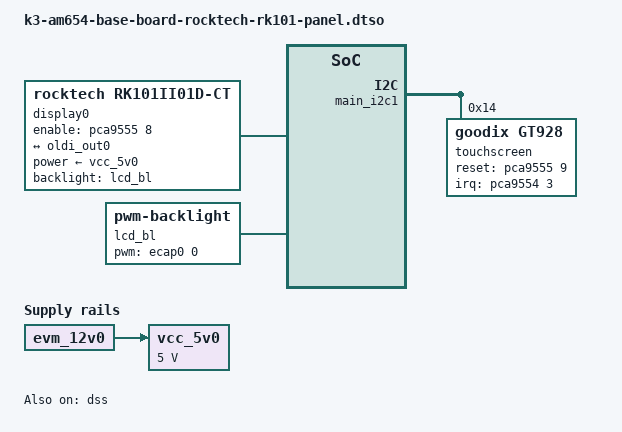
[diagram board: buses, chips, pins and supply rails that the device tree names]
// SPDX-License-Identifier: GPL-2.0-only OR MIT
/**
 * OLDI-LCD1EVM Rocktech integrated panel and touch DT overlay for AM654-EVM.
 * Panel Link: https://www.digimax.it/en/tft-lcd/20881-RK101II01D-CT
 * AM654 LCD EVM: https://www.ti.com/tool/TMDSLCD1EVM
 *
 * Copyright (C) 2023-2024 Texas Instruments Incorporated - https://www.ti.com/
 */

/dts-v1/;
/plugin/;

#include <dt-bindings/pwm/pwm.h>
#include <dt-bindings/gpio/gpio.h>
#include <dt-bindings/interrupt-controller/irq.h>

&{/} {
	vcc_5v0: lcd-regulator {
		/* Output of LM5140 */
		compatible = "regulator-fixed";
		regulator-name = "vcc_5v0";
		regulator-min-microvolt = <5000000>;
		regulator-max-microvolt = <5000000>;
		regulator-always-on;
		regulator-boot-on;
		vin-supply = <&evm_12v0>;
	};

	display0 {
		compatible = "rocktech,rk101ii01d-ct";
		power-supply = <&vcc_5v0>;
		backlight = <&lcd_bl>;
		enable-gpios = <&pca9555 8 GPIO_ACTIVE_HIGH>;
		port {
			lcd_in0: endpoint {
				remote-endpoint = <&oldi_out0>;
			};
		};
	};

	lcd_bl: backlight {
		compatible = "pwm-backlight";
		pwms = <&ecap0 0 50000 PWM_POLARITY_INVERTED>;
		brightness-levels =
			<0 32 64 96 128 160 192 224 255>;
		default-brightness-level = <8>;
	};
};

&dss {
	status = "okay";
};

&dss_ports {
	#address-cells = <1>;
	#size-cells = <0>;

	port@0 {
		reg = <0>;

		oldi_out0: endpoint {
			remote-endpoint = <&lcd_in0>;
		};
	};
};

&main_i2c1 {
	#address-cells = <1>;
	#size-cells = <0>;

	touchscreen@14 {
		compatible = "goodix,gt928";
		reg = <0x14>;

		interrupt-parent = <&pca9554>;
		interrupts = <3 IRQ_TYPE_EDGE_FALLING>;
		touchscreen-size-x = <1280>;
		touchscreen-size-y = <800>;

		reset-gpios = <&pca9555 9 GPIO_ACTIVE_HIGH>;
		irq-gpios = <&pca9554 3 GPIO_ACTIVE_HIGH>;
	};
};
